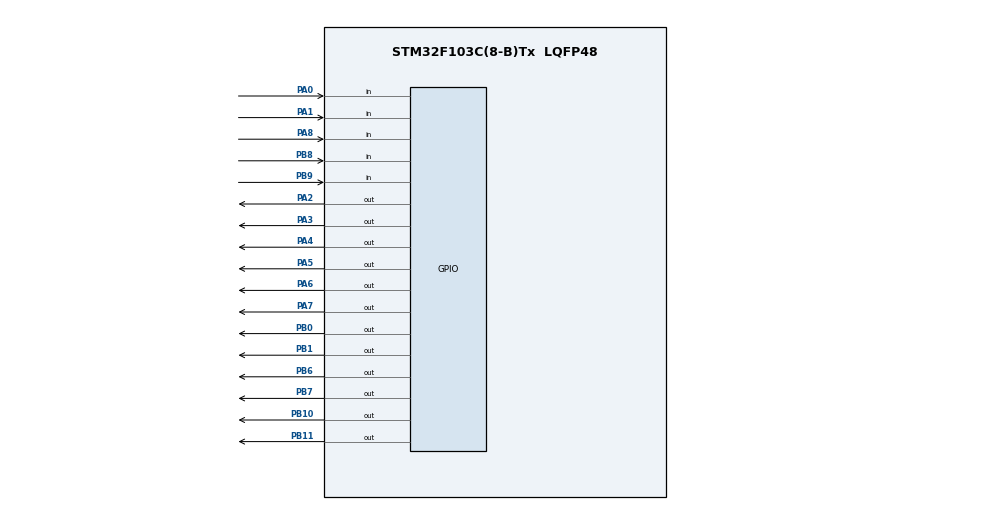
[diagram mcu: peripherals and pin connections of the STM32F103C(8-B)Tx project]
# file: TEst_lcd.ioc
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Mcu.Family=STM32F1
Mcu.Name=STM32F103C(8-B)Tx
Mcu.Package=LQFP48
NVIC.PriorityGroup=NVIC_PRIORITYGROUP_4
PA0-WKUP.GPIO_PuPd=GPIO_PULLUP
PA0-WKUP.Signal=GPIO_Input
PA1.GPIO_PuPd=GPIO_PULLUP
PA1.Signal=GPIO_Input
PA13.Mode=Serial_Wire
PA13.Signal=SYS_JTMS-SWDIO
PA14.Mode=Serial_Wire
PA14.Signal=SYS_JTCK-SWCLK
PA2.Signal=GPIO_Output
PA3.Signal=GPIO_Output
PA4.Signal=GPIO_Output
PA5.Signal=GPIO_Output
PA6.Signal=GPIO_Output
PA7.Signal=GPIO_Output
PA8.GPIO_PuPd=GPIO_PULLUP
PA8.Signal=GPIO_Input
PB0.Signal=GPIO_Output
PB1.Signal=GPIO_Output
PB10.Signal=GPIO_Output
PB11.Signal=GPIO_Output
PB6.Signal=GPIO_Output
PB7.Signal=GPIO_Output
PB8.GPIO_PuPd=GPIO_PULLUP
PB8.Signal=GPIO_Input
PB9.GPIO_PuPd=GPIO_PULLUP
PB9.Signal=GPIO_Input
ProjectManager.HeapSize=0x200
ProjectManager.StackSize=0x400
ProjectManager.TargetToolchain=STM32CubeIDE
RCC.APB1Freq_Value=8000000
RCC.APB2Freq_Value=8000000
board=custom

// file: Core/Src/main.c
/* USER CODE BEGIN Header */
/**
  ******************************************************************************
  * @file           : main.c
  * @brief          : Main program body
  ******************************************************************************
  * @attention
  *
  * Copyright (c) 2026 STMicroelectronics.
  * All rights reserved.
  *
  * This software is licensed under terms that can be found in the LICENSE file
  * in the root directory of this software component.
  * If no LICENSE file comes with this software, it is provided AS-IS.
  *
  ******************************************************************************
  */
/* USER CODE END Header */
#include "main.h"

/* USER CODE BEGIN Includes */
#include "LCD.h"
#include "telas.h"
#include "Keypad.h"
#include "GPIO.h"
#include "mem.h"

/* USER CODE END Includes */

void SystemClock_Config(void);
static void MX_GPIO_Init(void);

int main(void)
{

  /* MCU Configuration--------------------------------------------------------*/

  /* Reset of all peripherals, Initializes the Flash interface and the Systick. */
  HAL_Init();

  /* Configure the system clock */
  SystemClock_Config();

  /* Initialize all configured peripherals */
  MX_GPIO_Init();
  I2C_Init();
  /* USER CODE BEGIN 2 */
  LCD_init();
   keypad_init();
   HAL_Delay(1000);
   LCD_clear();

/*
   uint8_t w = 0x41; // 'A'
   uint8_t r = 0x00;
   EEPROM_Write(0x0010, &w, 1);
   HAL_Delay(10); // (melhor seria ACK polling dentro do driver, mas isso ajuda)
   EEPROM_Read(0x0010, &r, 1);

  write_letter((char)r);
  w = 0x42; // 'A'
  r = 0x00;
     EEPROM_Write(0x0020, &w, 1);
     HAL_Delay(10); // (melhor seria ACK polling dentro do driver, mas isso ajuda)
     EEPROM_Read(0x0020, &r, 1);
     write_letter((char)r);
     HAL_Delay(1000);
*/
  /* USER CODE END 2 */

  /* Infinite loop */
  /* USER CODE BEGIN WHILE */
   char buff[100];
  int i = 0;
  while (1)
  {
    /* USER CODE END WHILE */
	  char c =  Keypad_Scan();
	  if(c == '*'){

		  buff[i] = '\0';
		  write_word(buff);
		  HAL_Delay(1000);
		  load();
		  LCD_clear();
		  EEPROM_Write_word(0x0020, buff, i);
		  HAL_Delay(1000);
		  LCD_clear();
		  load();
		  LCD_clear();
		  uint8_t r = 0x00;
		  EEPROM_Read(0x0020, &r, 1);
		  write_letter((char)r);
		  HAL_Delay(1000);
		  char word[100];
		  EEPROM_READ_word(0x0020, word, i);
		  word[i+1] = '\0';
		write_word(word);

		  i = 0;
	  }
	  else if(c!=0 ){
		  buff[i] = c;
		  i++;
		  write_letter(c);

	  }

  }
}

void SystemClock_Config(void)
{
  RCC_OscInitTypeDef RCC_OscInitStruct = {0};
  RCC_ClkInitTypeDef RCC_ClkInitStruct = {0};

  /** Initializes the RCC Oscillators according to the specified parameters
  * in the RCC_OscInitTypeDef structure.
  */
  RCC_OscInitStruct.OscillatorType = RCC_OSCILLATORTYPE_HSI;
  RCC_OscInitStruct.HSIState = RCC_HSI_ON;
  RCC_OscInitStruct.HSICalibrationValue = RCC_HSICALIBRATION_DEFAULT;
  RCC_OscInitStruct.PLL.PLLState = RCC_PLL_NONE;
  if (HAL_RCC_OscConfig(&RCC_OscInitStruct) != HAL_OK)
  {
    Error_Handler();
  }

  /** Initializes the CPU, AHB and APB buses clocks
  */
  RCC_ClkInitStruct.ClockType = RCC_CLOCKTYPE_HCLK|RCC_CLOCKTYPE_SYSCLK
                              |RCC_CLOCKTYPE_PCLK1|RCC_CLOCKTYPE_PCLK2;
  RCC_ClkInitStruct.SYSCLKSource = RCC_SYSCLKSOURCE_HSI;
  RCC_ClkInitStruct.AHBCLKDivider = RCC_SYSCLK_DIV1;
  RCC_ClkInitStruct.APB1CLKDivider = RCC_HCLK_DIV1;
  RCC_ClkInitStruct.APB2CLKDivider = RCC_HCLK_DIV1;

  if (HAL_RCC_ClockConfig(&RCC_ClkInitStruct, FLASH_LATENCY_0) != HAL_OK)
  {
    Error_Handler();
  }
}

static void MX_GPIO_Init(void)
{
  GPIO_InitTypeDef GPIO_InitStruct = {0};

  /* GPIO Ports Clock Enable */
  __HAL_RCC_GPIOA_CLK_ENABLE();
  __HAL_RCC_GPIOB_CLK_ENABLE();

  /*Configure GPIO pin Output Level */
  HAL_GPIO_WritePin(GPIOA, GPIO_PIN_2|GPIO_PIN_3|GPIO_PIN_4|GPIO_PIN_5
                          |GPIO_PIN_6|GPIO_PIN_7, GPIO_PIN_RESET);

  /*Configure GPIO pin Output Level */
  HAL_GPIO_WritePin(GPIOB, GPIO_PIN_0|GPIO_PIN_1|GPIO_PIN_10|GPIO_PIN_11
                          , GPIO_PIN_RESET);

  /*Configure GPIO pins : PA0 PA1 */
  GPIO_InitStruct.Pin = GPIO_PIN_0|GPIO_PIN_1|GPIO_PIN_8;
  GPIO_InitStruct.Mode = GPIO_MODE_INPUT;
  GPIO_InitStruct.Pull = GPIO_PULLUP;
  HAL_GPIO_Init(GPIOA, &GPIO_InitStruct);

  /*Configure GPIO pins : PA2 PA3 PA4 PA5
                           PA6 PA7 PA8 */
  GPIO_InitStruct.Pin = GPIO_PIN_2|GPIO_PIN_3|GPIO_PIN_4|GPIO_PIN_5
                          |GPIO_PIN_6|GPIO_PIN_7;
  GPIO_InitStruct.Mode = GPIO_MODE_OUTPUT_PP;
  GPIO_InitStruct.Pull = GPIO_NOPULL;
  GPIO_InitStruct.Speed = GPIO_SPEED_FREQ_LOW;
  HAL_GPIO_Init(GPIOA, &GPIO_InitStruct);

  /*Configure GPIO pins : PB0 PB1 PB10 PB11
                           PB6 PB7 */
  GPIO_InitStruct.Pin = GPIO_PIN_0|GPIO_PIN_1|GPIO_PIN_10|GPIO_PIN_11
                         ;
  GPIO_InitStruct.Mode = GPIO_MODE_OUTPUT_PP;
  GPIO_InitStruct.Pull = GPIO_NOPULL;
  GPIO_InitStruct.Speed = GPIO_SPEED_FREQ_LOW;
  HAL_GPIO_Init(GPIOB, &GPIO_InitStruct);

  /*Configure GPIO pins : PB8 PB9 */
  GPIO_InitStruct.Pin = GPIO_PIN_8|GPIO_PIN_9;
  GPIO_InitStruct.Mode = GPIO_MODE_INPUT;
  GPIO_InitStruct.Pull = GPIO_PULLUP;
  HAL_GPIO_Init(GPIOB, &GPIO_InitStruct);

  /* USER CODE BEGIN MX_GPIO_Init_2 */

          HAL_GPIO_WritePin(GPIOC, GPIO_PIN_13, GPIO_PIN_RESET);

          GPIO_InitStruct.Pin = GPIO_PIN_13;
          GPIO_InitStruct.Mode = GPIO_MODE_OUTPUT_PP;
          GPIO_InitStruct.Pull = GPIO_NOPULL;
          GPIO_InitStruct.Speed = GPIO_SPEED_FREQ_LOW;
          HAL_GPIO_Init(GPIOC, &GPIO_InitStruct);

  /* USER CODE END MX_GPIO_Init_2 */
}

void Error_Handler(void)
{
  __disable_irq();
  while (1)
  {
  }
}
